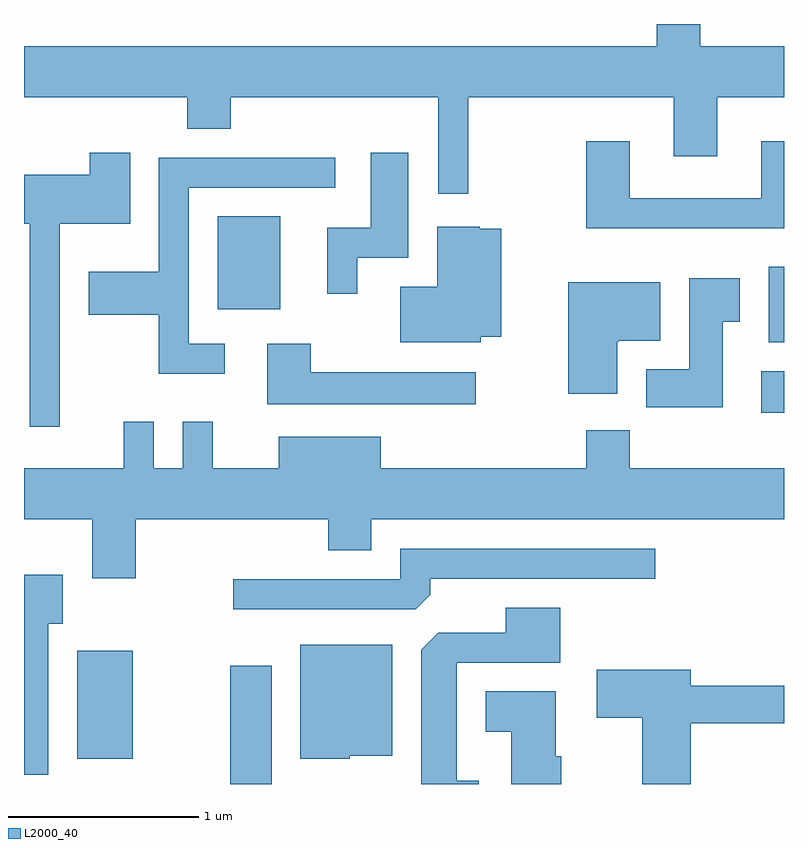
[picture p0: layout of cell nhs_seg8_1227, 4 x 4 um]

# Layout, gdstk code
import gdstk
lib = gdstk.Library(unit=1e-6, precision=1e-09)
def R(c, l, rs):  # rectangles x0, y0, x1, y1
    for r in rs: c.add(gdstk.rectangle(r[:2], r[2:], *l))
def P(c, l, *ps):  # polygons
    for p in ps: c.add(gdstk.Polygon(p, *l))
L2000_40 = (2000, 40)

nhs_seg8_1227 = lib.new_cell('nhs_seg8_1227')
R(nhs_seg8_1227, L2000_40, [(222.696,1848.342,222.914,1848.964), (221.891,1848.476,222.184,1849.044), (225.491,1850.296,225.611,1850.514), (225.531,1850.666,225.611,1851.064), (222.631,1850.841,222.959,1851.329)])
P(nhs_seg8_1227, L2000_40, [(223.949,1851.956),(225.031,1851.956),(225.031,1851.646),(225.259,1851.646),(225.259,1851.956),(225.611,1851.956),(225.611,1852.224),(225.169,1852.224),(225.169,1852.342),(224.941,1852.342),(224.941,1852.224),(221.611,1852.224),(221.611,1851.956),(222.471,1851.956),(222.471,1851.791),(222.699,1851.791),(222.699,1851.956),(223.791,1851.956),(223.791,1851.448),(223.949,1851.448)],
  [(225.611,1851.724),(225.491,1851.724),(225.491,1851.424),(224.799,1851.424),(224.799,1851.724),(224.571,1851.724),(224.571,1851.266),(225.611,1851.266)],
  [(223.364,1851.111),(223.634,1851.111),(223.634,1851.664),(223.436,1851.664),(223.436,1851.269),(223.206,1851.269),(223.206,1850.923),(223.364,1850.923)],
  [(221.799,1851.291),(222.169,1851.291),(222.169,1851.664),(221.956,1851.664),(221.956,1851.549),(221.611,1851.549),(221.611,1851.291),(221.641,1851.291),(221.641,1850.223),(221.799,1850.223)],
  [(222.668,1850.659),(222.479,1850.659),(222.479,1851.481),(223.248,1851.481),(223.248,1851.639),(222.321,1851.639),(222.321,1851.039),(221.951,1851.039),(221.951,1850.811),(222.321,1850.811),(222.321,1850.501),(222.668,1850.501)],
  [(224.014,1850.696),(224.124,1850.696),(224.124,1851.264),(224.01,1851.264),(224.01,1851.274),(223.786,1851.274),(223.786,1850.959),(223.591,1850.959),(223.591,1850.666),(224.014,1850.666)],
  [(225.289,1850.776),(225.379,1850.776),(225.379,1851.004),(225.111,1851.004),(225.111,1850.524),(224.886,1850.524),(224.886,1850.326),(225.289,1850.326)],
  [(224.734,1850.67),(224.74,1850.67),(224.74,1850.676),(224.959,1850.676),(224.959,1850.984),(224.476,1850.984),(224.476,1850.396),(224.734,1850.396)],
  [(223.988,1850.509),(223.119,1850.509),(223.119,1850.659),(222.891,1850.659),(222.891,1850.341),(223.988,1850.341)],
  [(222.199,1849.736),(223.211,1849.736),(223.211,1849.571),(223.439,1849.571),(223.439,1849.736),(225.611,1849.736),(225.611,1850.004),(224.799,1850.004),(224.799,1850.204),(224.571,1850.204),(224.571,1850.004),(223.489,1850.004),(223.489,1850.169),(222.951,1850.169),(222.951,1850.004),(222.604,1850.004),(222.604,1850.248),(222.446,1850.248),(222.446,1850.004),(222.294,1850.004),(222.294,1850.248),(222.136,1850.248),(222.136,1850.004),(221.611,1850.004),(221.611,1849.736),(221.971,1849.736),(221.971,1849.426),(222.199,1849.426)],
  [(223.749,1849.337),(223.749,1849.421),(224.933,1849.421),(224.933,1849.579),(223.591,1849.579),(223.591,1849.419),(222.713,1849.419),(222.713,1849.261),(223.674,1849.261)],
  [(221.739,1849.186),(221.814,1849.186),(221.814,1849.444),(221.611,1849.444),(221.611,1848.391),(221.739,1848.391)],
  [(224.004,1848.359),(223.889,1848.359),(223.889,1848.981),(224.434,1848.981),(224.434,1849.269),(224.146,1849.269),(224.146,1849.139),(223.792,1849.139),(223.701,1849.049),(223.701,1848.342),(224.004,1848.342)],
  [(223.325,1848.491),(223.549,1848.491),(223.549,1849.074),(223.066,1849.074),(223.066,1848.476),(223.325,1848.476)],
  [(225.119,1848.661),(225.611,1848.661),(225.611,1848.859),(225.119,1848.859),(225.119,1848.944),(224.626,1848.944),(224.626,1848.691),(224.866,1848.691),(224.866,1848.342),(225.119,1848.342)],
  [(224.439,1848.489),(224.409,1848.489),(224.409,1848.829),(224.041,1848.829),(224.041,1848.616),(224.176,1848.616),(224.176,1848.342),(224.439,1848.342)])

lib.write_gds('nhs_seg8_1227.gds')
